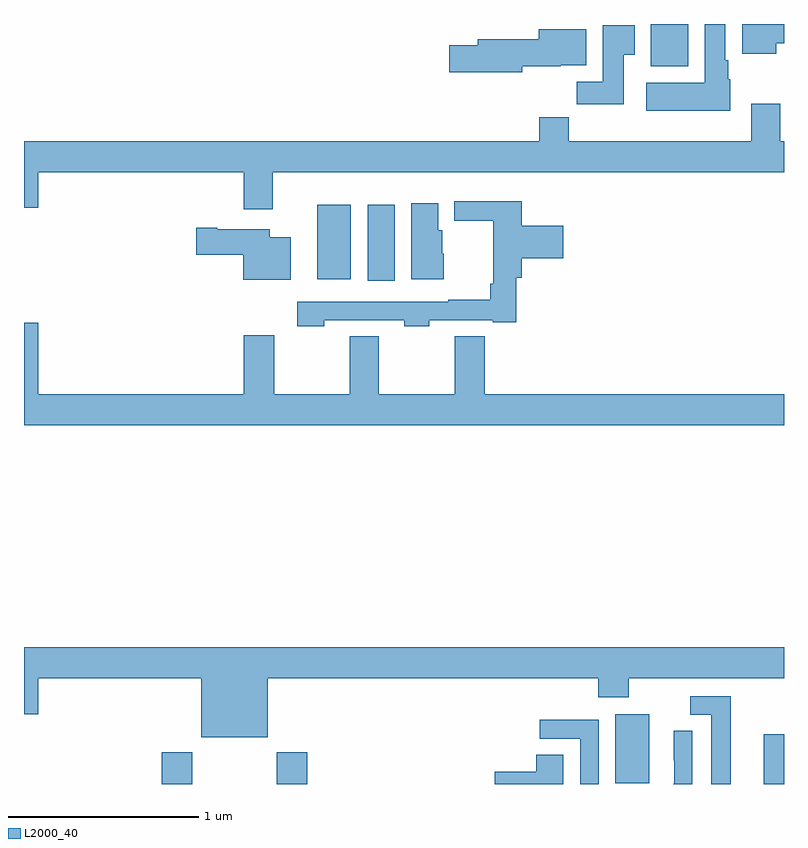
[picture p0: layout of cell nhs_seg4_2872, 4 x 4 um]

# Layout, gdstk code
import gdstk
lib = gdstk.Library(unit=1e-6, precision=1e-09)
def R(c, l, rs):  # rectangles x0, y0, x1, y1
    for r in rs: c.add(gdstk.rectangle(r[:2], r[2:], *l))
def P(c, l, *ps):  # polygons
    for p in ps: c.add(gdstk.Polygon(p, *l))
L2000_40 = (2000, 40)

nhs_seg4_2872 = lib.new_cell('nhs_seg4_2872')
R(nhs_seg4_2872, L2000_40, [(261.725,826.9,261.885,827.068), (262.33,826.9,262.49,827.068), (264.893,826.9,265,827.163), (264.113,826.905,264.292,827.266), (262.808,829.548,262.951,829.948), (262.544,829.556,262.72,829.948), (264.299,830.678,264.496,830.9)])
P(nhs_seg4_2872, L2000_40, [(264.718,830.61),(264.706,830.61),(264.706,830.71),(264.691,830.71),(264.691,830.9),(264.584,830.9),(264.584,830.59),(264.275,830.59),(264.275,830.444),(264.718,830.444)],
  [(264.958,830.8),(265,830.8),(265,830.9),(264.779,830.9),(264.779,830.744),(264.958,830.744)],
  [(264.157,830.737),(264.214,830.737),(264.214,830.893),(264.047,830.893),(264.047,830.596),(263.908,830.596),(263.908,830.478),(264.157,830.478)],
  [(263.622,830.678),(263.826,830.678),(263.826,830.684),(263.959,830.684),(263.959,830.872),(263.708,830.872),(263.708,830.819),(263.387,830.819),(263.387,830.789),(263.238,830.789),(263.238,830.647),(263.622,830.647)],
  [(262.309,830.12),(265,830.12),(265,830.284),(264.98,830.284),(264.98,830.479),(264.827,830.479),(264.827,830.284),(263.867,830.284),(263.867,830.408),(263.711,830.408),(263.711,830.284),(261,830.284),(261,829.932),(261.076,829.932),(261.076,830.12),(262.157,830.12),(262.157,829.926),(262.309,829.926)],
  [(262.581,829.341),(263.001,829.341),(263.001,829.309),(263.133,829.309),(263.133,829.341),(263.468,829.341),(263.468,829.329),(263.591,829.329),(263.591,829.565),(263.621,829.565),(263.621,829.667),(263.839,829.667),(263.839,829.837),(263.621,829.837),(263.621,829.966),(263.265,829.966),(263.265,829.864),(263.47,829.864),(263.47,829.534),(263.455,829.534),(263.455,829.45),(263.233,829.45),(263.233,829.437),(262.437,829.437),(262.437,829.309),(262.581,829.309)],
  [(263.209,829.692),(263.2,829.692),(263.2,829.815),(263.179,829.815),(263.179,829.957),(263.039,829.957),(263.039,829.556),(263.209,829.556)],
  [(262.405,829.777),(262.294,829.777),(262.294,829.819),(262.018,829.819),(262.018,829.827),(261.906,829.827),(261.906,829.685),(262.154,829.685),(262.154,829.553),(262.405,829.553)],
  [(265,828.952),(263.426,828.952),(263.426,829.256),(263.266,829.256),(263.266,828.952),(262.868,828.952),(262.868,829.256),(262.714,829.256),(262.714,828.952),(262.317,828.952),(262.317,829.261),(262.157,829.261),(262.157,828.952),(261.076,828.952),(261.076,829.327),(261,829.327),(261,828.788),(265,828.788)],
  [(262.282,827.456),(264.023,827.456),(264.023,827.357),(264.183,827.357),(264.183,827.456),(265,827.456),(265,827.62),(261,827.62),(261,827.268),(261.076,827.268),(261.076,827.456),(261.932,827.456),(261.932,827.147),(262.282,827.147)],
  [(264.721,827.361),(264.507,827.361),(264.507,827.265),(264.617,827.265),(264.617,826.9),(264.721,826.9)],
  [(264.024,827.238),(263.715,827.238),(263.715,827.139),(263.928,827.139),(263.928,826.9),(264.024,826.9)],
  [(264.516,827.18),(264.42,827.18),(264.42,827.026),(264.422,827.026),(264.422,826.904),(264.418,826.9),(264.516,826.9)],
  [(263.839,827.054),(263.696,827.054),(263.696,826.964),(263.478,826.964),(263.478,826.9),(263.839,826.9)])

lib.write_gds('nhs_seg4_2872.gds')
